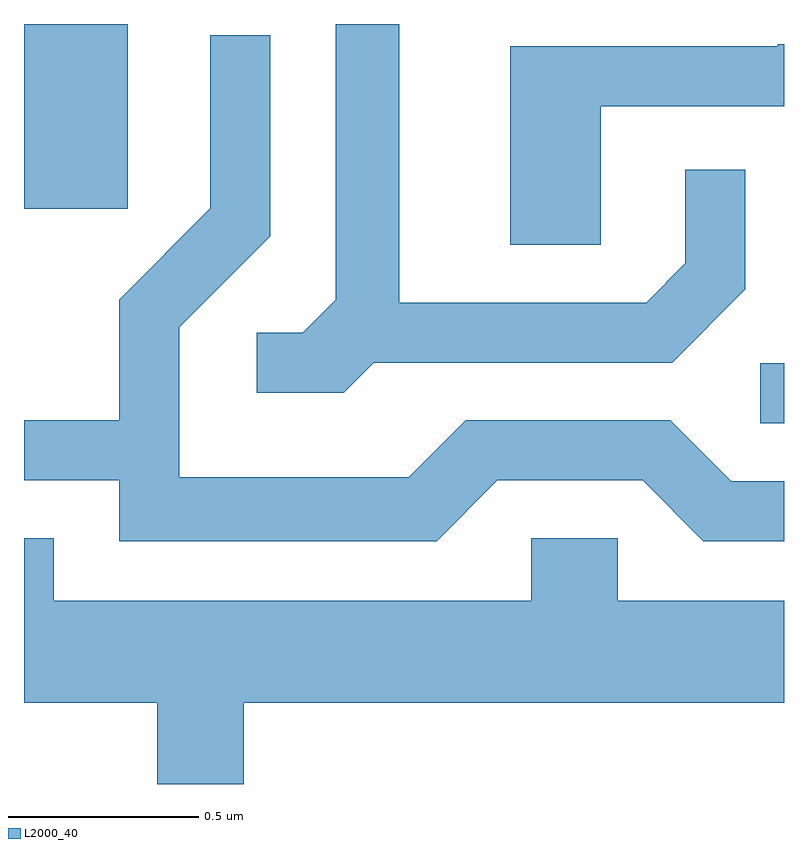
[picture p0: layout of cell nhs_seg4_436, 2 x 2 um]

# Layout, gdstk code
import gdstk
lib = gdstk.Library(unit=1e-6, precision=1e-09)
def R(c, l, rs):  # rectangles x0, y0, x1, y1
    for r in rs: c.add(gdstk.rectangle(r[:2], r[2:], *l))
def P(c, l, *ps):  # polygons
    for p in ps: c.add(gdstk.Polygon(p, *l))
L2000_40 = (2000, 40)

nhs_seg4_436 = lib.new_cell('nhs_seg4_436')
R(nhs_seg4_436, L2000_40, [(190.548,1279.931,190.611,1280.089), (188.611,1280.496,188.884,1280.982)])
P(nhs_seg4_436, L2000_40, [(189.532,1280.091),(190.317,1280.091),(190.509,1280.284),(190.509,1280.598),(190.351,1280.598),(190.351,1280.352),(190.249,1280.249),(189.599,1280.249),(189.599,1280.982),(189.431,1280.982),(189.431,1280.257),(189.344,1280.169),(189.223,1280.169),(189.223,1280.011),(189.452,1280.011)],
  [(189.857,1279.781),(190.239,1279.781),(190.399,1279.621),(190.611,1279.621),(190.611,1279.779),(190.472,1279.779),(190.312,1279.939),(189.774,1279.939),(189.624,1279.789),(189.019,1279.789),(189.019,1280.184),(189.259,1280.424),(189.259,1280.953),(189.101,1280.953),(189.101,1280.497),(188.861,1280.257),(188.861,1279.939),(188.611,1279.939),(188.611,1279.781),(188.861,1279.781),(188.861,1279.621),(189.697,1279.621)],
  [(190.129,1280.766),(190.611,1280.766),(190.611,1280.929),(190.595,1280.929),(190.595,1280.924),(189.891,1280.924),(189.891,1280.401),(190.129,1280.401)],
  [(189.189,1279.196),(190.611,1279.196),(190.611,1279.464),(190.174,1279.464),(190.174,1279.629),(189.946,1279.629),(189.946,1279.464),(188.689,1279.464),(188.689,1279.629),(188.611,1279.629),(188.611,1279.196),(188.961,1279.196),(188.961,1278.982),(189.189,1278.982)])

lib.write_gds('nhs_seg4_436.gds')
